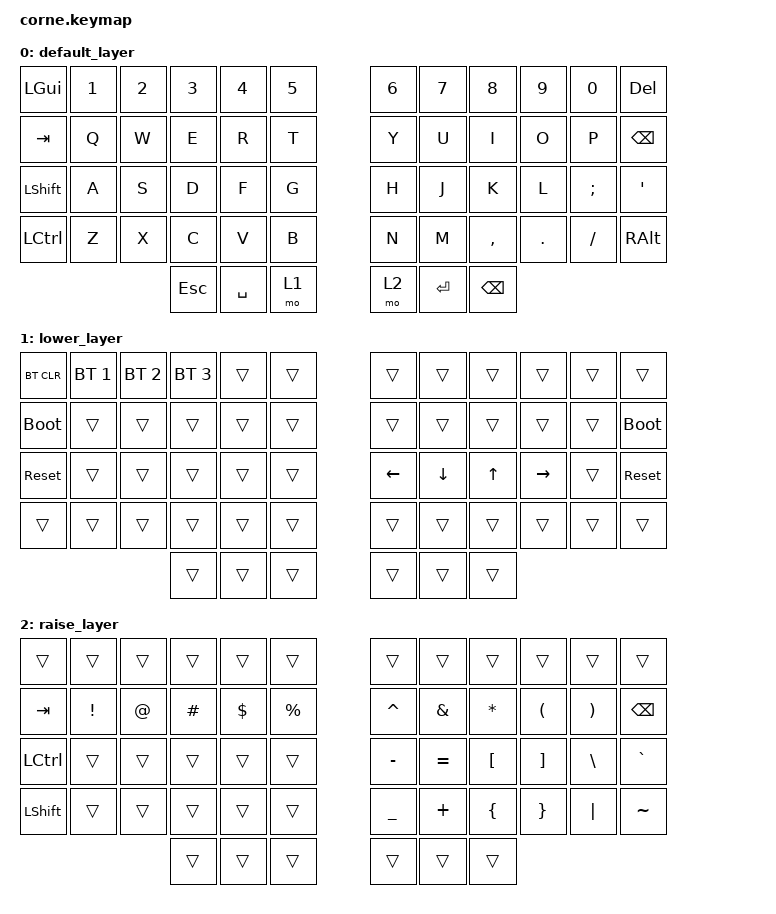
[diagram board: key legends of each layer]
#include <behaviors.dtsi>
#include <dt-bindings/zmk/keys.h>
#include <dt-bindings/zmk/bt.h>
#include <dt-bindings/zmk/ext_power.h>

/ {
    keymap {
        compatible = "zmk,keymap";

        default_layer {
            /* 
             * Default Layer
             * 
             * ┌────┬────┬────┬────┬────┬────┐      ┌────┬────┬────┬────┬────┬────┐
             * │LGUI│ N1 │ N2 │ N3 │ N4 │ N5 │      │ N6 │ N7 │ N8 │ N9 │ N0 │DEL │
             * ├────┼────┼────┼────┼────┼────┤      ├────┼────┼────┼────┼────┼────┤
             * │TAB │ Q  │ W  │ E  │ R  │ T  │      │ Y  │ U  │ I  │ O  │ P  │BSPC│
             * ├────┼────┼────┼────┼────┼────┤      ├────┼────┼────┼────┼────┼────┤
             * │LSFT│ A  │ S  │ D  │ F  │ G  │      │ H  │ J  │ K  │ L  │ ;  │ '  │
             * ├────┼────┼────┼────┼────┼────┤      ├────┼────┼────┼────┼────┼────┤
             * │LCTL│ Z  │ X  │ C  │ V  │ B  │      │ N  │ M  │ ,  │ .  │ /  │RALT│
             * └────┴────┴────┴────┴────┴────┘      └────┴────┴────┴────┴────┴────┘
             *                ┌────┬────┬────┐      ┌────┬────┬────┐
             *                │ESC │SPC │MO1 │      │MO2 │RET │BSPC│
             *                └────┴────┴────┘      └────┴────┴────┘
             */
            bindings = <
                &kp LGUI     &kp N1    &kp N2    &kp N3    &kp N4    &kp N5          &kp N6    &kp N7    &kp N8    &kp N9    &kp N0    &kp DEL
                &kp TAB      &kp Q     &kp W     &kp E     &kp R     &kp T           &kp Y     &kp U     &kp I     &kp O     &kp P     &kp BSPC
                &kp LSHIFT   &kp A     &kp S     &kp D     &kp F     &kp G           &kp H     &kp J     &kp K     &kp L     &kp SEMI  &kp SQT
                &kp LCTRL    &kp Z     &kp X     &kp C     &kp V     &kp B           &kp N     &kp M     &kp COMMA &kp DOT   &kp FSLH  &kp RALT
                                   &kp ESC     &kp SPACE  &mo 1      &mo 2           &kp RET   &kp BSPC
            >;
        };

        lower_layer {
            /* 
             * Lower Layer
             * 
             * ┌────┬────┬────┬────┬────┬────┐      ┌────┬────┬────┬────┬────┬────┐
             * │CLR │BT1 │BT2 │BT3 │    │    │      │    │    │    │    │    │    │
             * ├────┼────┼────┼────┼────┼────┤      ├────┼────┼────┼────┼────┼────┤
             * │BOOT│    │    │    │    │    │      │    │    │    │    │    │BOOT│
             * ├────┼────┼────┼────┼────┼────┤      ├────┼────┼────┼────┼────┼────┤
             * │ RST│    │    │    │    │    │      │LEFT│DOWN│ UP │RIGH│    │ RST│
             * ├────┼────┼────┼────┼────┼────┤      ├────┼────┼────┼────┼────┼────┤
             * │    │    │    │    │    │    │      │    │    │    │    │    │    │
             * └────┴────┴────┴────┴────┴────┘      └────┴────┴────┴────┴────┴────┘
             *                ┌────┬────┬────┐      ┌────┬────┬────┐
             *                │    │    │    │      │    │    │    │
             *                └────┴────┴────┘      └────┴────┴────┘
             */
            bindings = <
                &bt BT_CLR   &bt BT_SEL 1   &bt BT_SEL 2   &bt BT_SEL 3   &trans     &trans          &trans     &trans     &trans     &trans     &trans     &trans
                &bootloader  &trans        &trans         &trans         &trans     &trans          &trans     &trans     &trans     &trans     &trans     &bootloader
                &sys_reset   &trans        &trans         &trans         &trans     &trans          &kp LEFT   &kp DOWN   &kp UP     &kp RIGHT  &trans     &sys_reset
                &trans       &trans        &trans         &trans         &trans     &trans          &trans     &trans     &trans     &trans     &trans     &trans
                                         &trans        &trans         &trans         &trans     &trans          &trans
            >;
        };

        raise_layer {
            /* 
             * Raise Layer
             * 
             * ┌────┬────┬────┬────┬────┬────┐      ┌────┬────┬────┬────┬────┬────┐
             * │    │    │    │    │    │    │      │    │    │    │    │    │    │
             * ├────┼────┼────┼────┼────┼────┤      ├────┼────┼────┼────┼────┼────┤
             * │TAB │ !  │ @  │ #  │ $  │ %  │      │ ^  │ &  │ *  │ (  │ )  │BSPC│
             * ├────┼────┼────┼────┼────┼────┤      ├────┼────┼────┼────┼────┼────┤
             * │LCTL│    │    │    │    │    │      │ -  │ =  │ [  │ ]  │ \  │ `  │
             * ├────┼────┼────┼────┼────┼────┤      ├────┼────┼────┼────┼────┼────┤
             * │LSFT│    │    │    │    │    │      │ _  │ +  │ {  │ }  │ |  │ ~  │
             * └────┴────┴────┴────┴────┴────┘      └────┴────┴────┴────┴────┴────┘
             *                ┌────┬────┬────┐      ┌────┬────┬────┐
             *                │    │    │    │      │    │    │    │
             *                └────┴────┴────┘      └────┴────┴────┘
             */
            bindings = <
                &trans      &trans        &trans       &trans        &trans        &trans           &trans     &trans     &trans     &trans     &trans     &trans
                &kp TAB     &kp EXCL      &kp AT       &kp HASH      &kp DLLR      &kp PRCNT        &kp CARET  &kp AMPS   &kp ASTRK  &kp LPAR   &kp RPAR   &kp BSPC
                &kp LCTRL   &trans        &trans       &trans        &trans        &trans           &kp MINUS  &kp EQUAL  &kp LBKT   &kp RBKT   &kp BSLH   &kp GRAVE
                &kp LSHFT   &trans        &trans       &trans        &trans        &trans           &kp UNDER  &kp PLUS   &kp LBRC   &kp RBRC   &kp PIPE   &kp TILDE
                                         &trans      &trans         &trans         &trans          &trans      &trans
            >;
        };
    };
};
